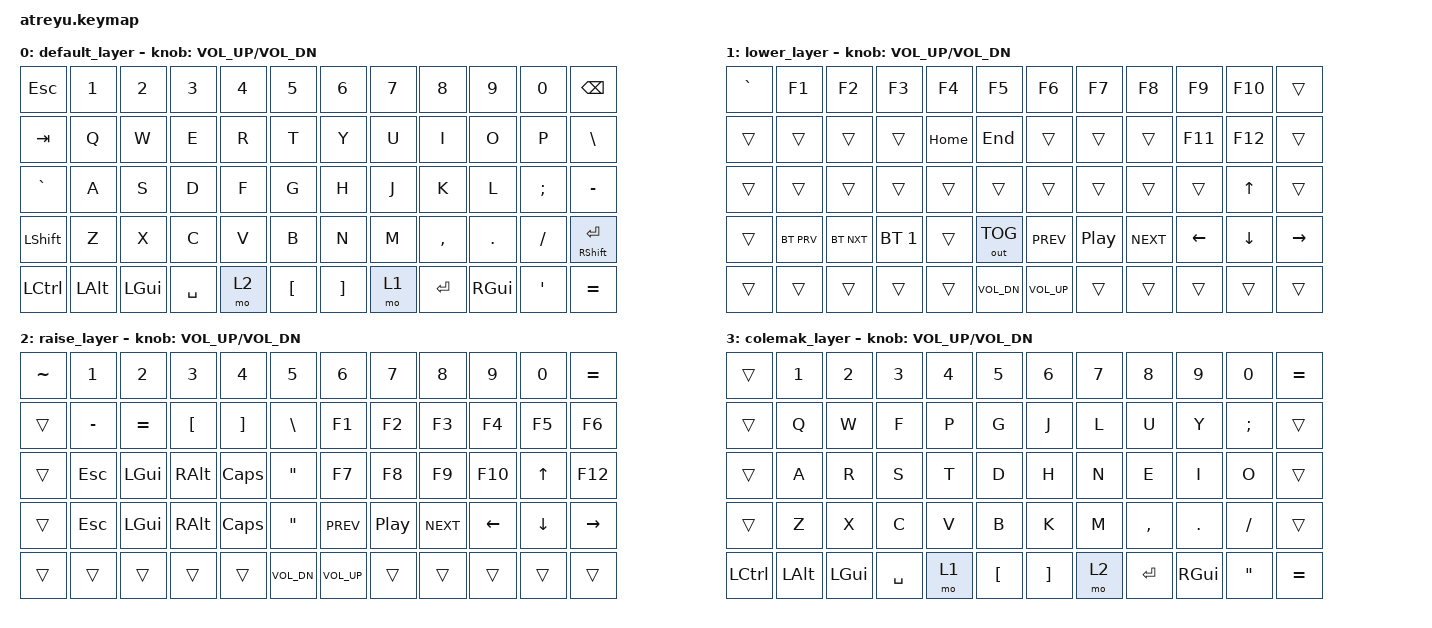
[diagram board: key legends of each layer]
/*
 * Copyright (c) 2020 The ZMK Contributors
 *
 * SPDX-License-Identifier: MIT
 */

#include <behaviors.dtsi>
#include <dt-bindings/zmk/keys.h>
#include <dt-bindings/zmk/bt.h>
#include <dt-bindings/zmk/outputs.h>


/ {
        keymap {
                compatible = "zmk,keymap";

                default_layer {
                        bindings = <
   &kp ESC   &kp N1  &kp N2   &kp N3   &kp N4  &kp N5    &kp N6 &kp N7    &kp N8    &kp N9  &kp N0   &kp BSPC
   &kp TAB   &kp Q   &kp W    &kp E    &kp R   &kp T     &kp Y  &kp U     &kp I     &kp O   &kp P    &kp BSLH
   &kp GRAVE &kp A   &kp S    &kp D    &kp F   &kp G     &kp H  &kp J     &kp K     &kp L   &kp SEMI &kp MINUS
   &kp LSHIFT  &kp Z   &kp X    &kp C    &kp V   &kp B     &kp N  &kp M     &kp COMMA &kp DOT &kp FSLH &mt RSHFT RET
   &kp LCTRL &kp LALT &kp LGUI &kp SPACE  &mo 2 &kp LBKT &kp RBKT &mo 1   &kp RET   &kp RGUI &kp SQT &kp EQUAL
                        >;
			sensor-bindings = <&inc_dec_kp C_VOL_UP C_VOL_DN>;
                };

                lower_layer {
                        bindings = <
   &kp GRAVE &kp F1 &kp F2 &kp F3 &kp F4 &kp F5   &kp F6        &kp F7    &kp F8   &kp F9    &kp F10     &trans
   &trans    &trans &trans &trans &kp HOME &kp END       &trans    &trans    &trans    &kp F11    &kp F12  &trans
   &trans    &trans &trans &trans &trans   &trans        &trans    &trans    &trans    &trans     &kp UP    &trans
   &trans    &bt BT_PRV &bt BT_NXT &bt BT_SEL 1 &trans &out OUT_TOG       &kp C_PREV &kp C_PP &kp C_NEXT &kp LEFT   &kp DOWN  &kp RIGHT
   &trans    &trans &trans &trans &trans   &kp C_VOL_DN &kp C_VOL_UP &trans    &trans    &trans     &trans    &trans
                        >;
			sensor-bindings = <&inc_dec_kp C_VOL_UP C_VOL_DN>;
                };

                raise_layer {
// -----------------------------------------------------------------------------------------
// |    |  1  |  2  |  3  |  4  |  5  |   |  6  |  7  |  8  |  9  |  0  | DEL |
// |    |  -  |  =  |  [  |  ]  |  \  |   | F1  | F2  | F3  | F4  | F5  | F6  |
// |    | ESC | GUI | ALT | CAPS|  "  |   | F7  | F8  | F9  | F10 | F11 | F12 |
//                       |     | ADJ | BKSP |    |     |
                        bindings = <
   &kp TILDE &kp N1    &kp N2    &kp N3    &kp N4    &kp N5        &kp N6       &kp N7    &kp N8    &kp N9    &kp N0    &kp EQUAL
   &trans    &kp MINUS &kp EQUAL &kp LBKT  &kp RBKT  &kp BSLH      &kp F1       &kp F2    &kp F3    &kp F4    &kp F5    &kp F6
   &trans    &kp ESC   &kp LGUI  &kp RALT  &kp CLCK  &kp DQT       &kp F7       &kp F8    &kp F9    &kp F10   &kp UP   &kp F12
   &trans    &kp ESC   &kp LGUI  &kp RALT  &kp CLCK  &kp DQT       &kp C_PREV   &kp C_PP &kp C_NEXT &kp LEFT   &kp DOWN  &kp RIGHT
   &trans    &trans &trans &trans &trans   &kp C_VOL_DN          &kp C_VOL_UP &trans    &trans    &trans     &trans    &trans
//                                &trans      &trans       &kp BSPC        &trans      &trans
                        >;
			sensor-bindings = <&inc_dec_kp C_VOL_UP C_VOL_DN>;
                };

		colemak_layer {
                        bindings = <
   &trans       &kp N1  &kp N2   &kp N3   &kp N4  &kp N5    &kp N6 &kp N7    &kp N8    &kp N9  &kp N0   &kp EQUAL
   &trans       &kp Q   &kp W    &kp F    &kp P   &kp G     &kp J  &kp L     &kp U     &kp Y   &kp SEMI &trans
   &trans       &kp A   &kp R    &kp S    &kp T   &kp D     &kp H  &kp N     &kp E     &kp I   &kp O    &trans
   &trans       &kp Z   &kp X    &kp C    &kp V   &kp B     &kp K  &kp M     &kp COMMA &kp DOT &kp FSLH &trans
   &kp LCTRL &kp LALT &kp LGUI &kp SPACE  &mo 1 &kp LBKT &kp RBKT &mo 2   &kp RET   &kp RGUI &kp DQT &kp EQUAL
                        >;
			sensor-bindings = <&inc_dec_kp C_VOL_UP C_VOL_DN>;
                };
        };
};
